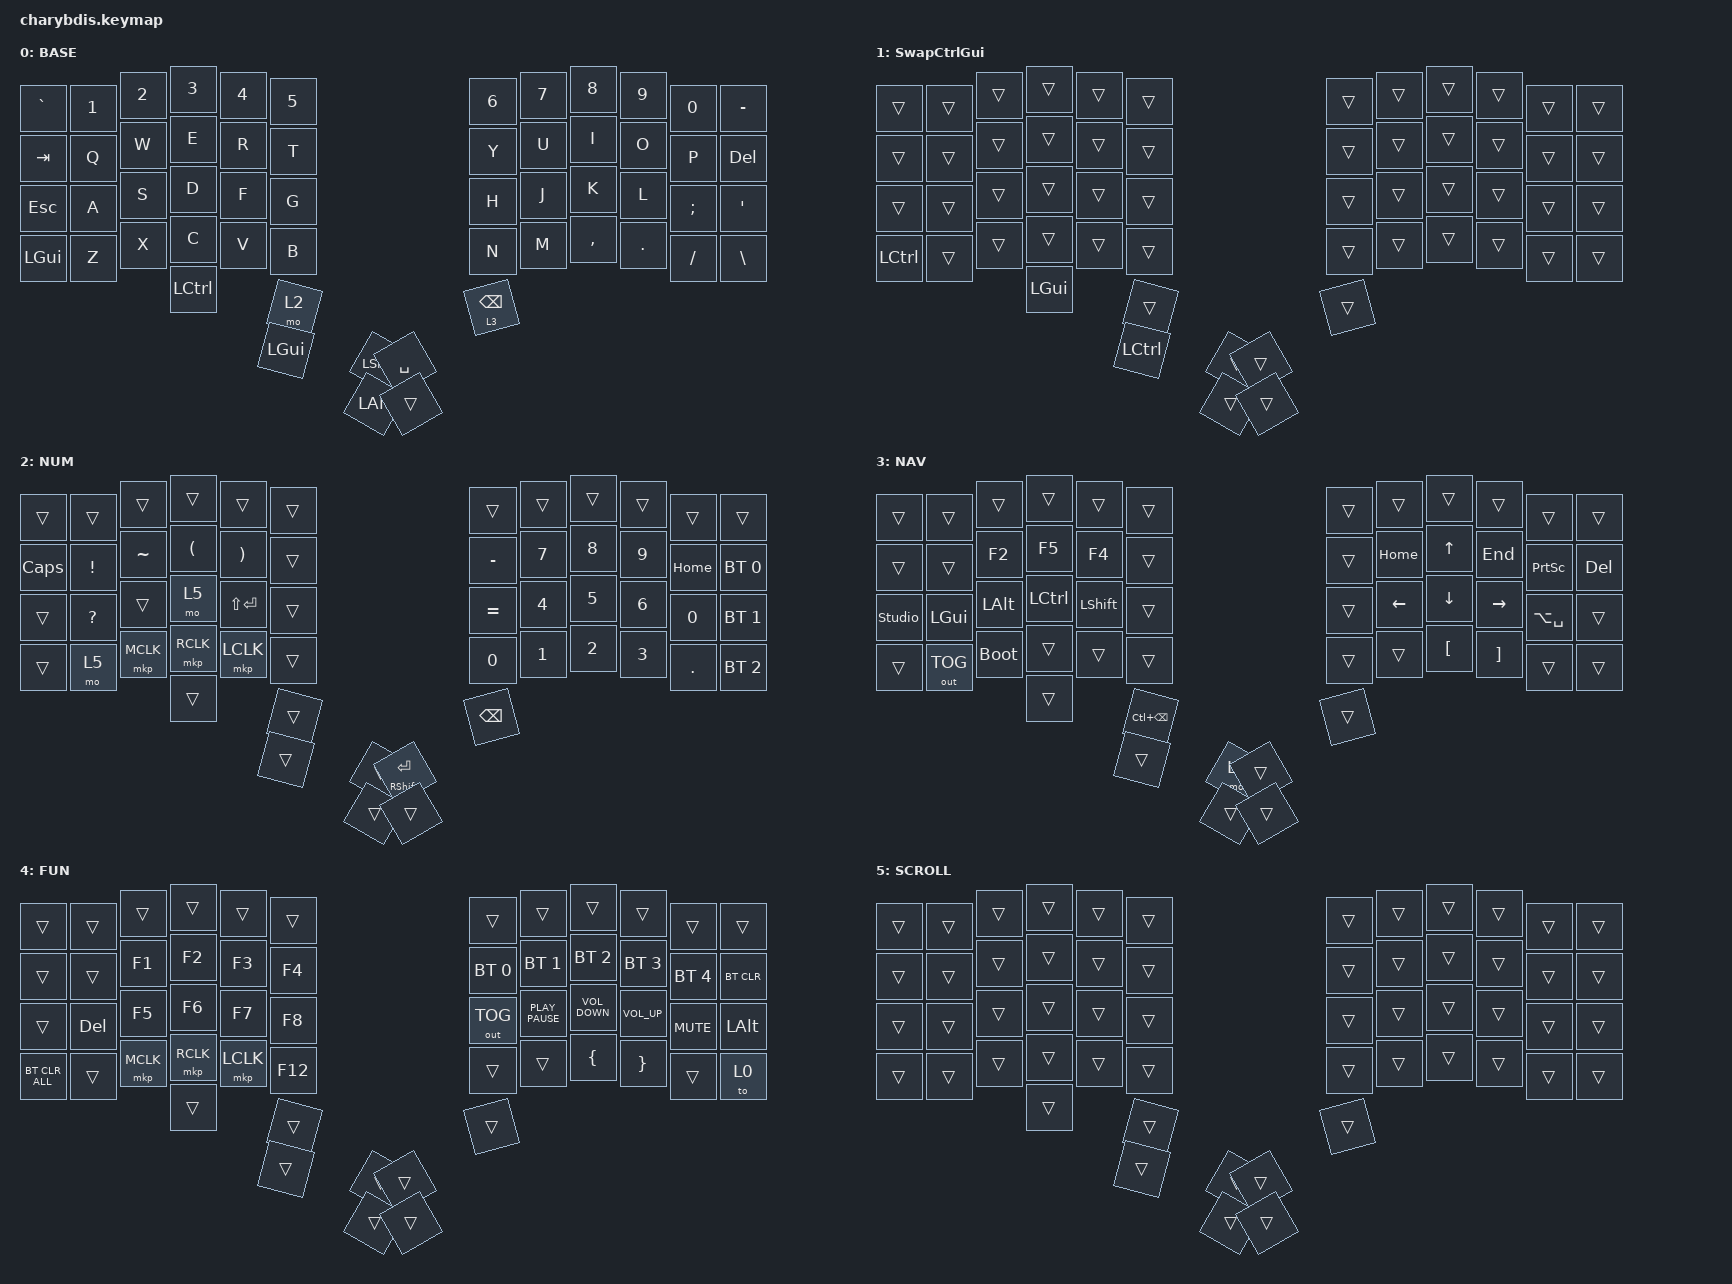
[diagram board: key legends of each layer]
#include <dt-bindings/zmk/mouse.h>
#include <input/processors.dtsi>
#include <dt-bindings/zmk/input_transform.h>
#include <behaviors.dtsi>
#include <dt-bindings/zmk/bt.h>
#include <dt-bindings/zmk/keys.h>
#include <dt-bindings/zmk/outputs.h>
#include <dt-bindings/zmk/pointing.h>

/*
 * ============================================================================
 * Charybdis Full (4x6) keymap — branch: charybdis-full
 * (report-rate-limit processor removed: its module is absent on the
 *  ZMK v0.2.1 base this branch builds against)
 * ============================================================================
 * Grid: 4 rows × 6 cols per side. Thumbs: 5 left (3 outer / 2 inner), 3 right
 * (2 outer / 1 inner). 56 keys total.
 *
 * Key position indices (used by combos & hold-trigger-key-positions):
 *   Number row : 0-11
 *   TAB   row  : 12-23
 *   ESC   row  : 24-35
 *   LGUI/Z row : 36-47
 *   Thumb row  : 48-55
 *
 * Thumb position map:
 *   48 49 50 = L outer (T1 T2 T3)
 *   51 52    = L inner (T4 T5)
 *   53 54    = R outer (T6 T7)
 *   55       = R inner (T8)
 *
 * Migration from Mini (charybdis-mini-wireless branch):
 *   - All Mini main-row positions shift by +12 (number row added at index 0).
 *   - Mini thumbs map onto Full T1/T2/T3 (left) and T6/T7 (right); T4/T5/T8
 *     are new and default to &trans (fill in as needed).
 */

#define U_TAPPING_TERM 200

/ {
    trackball_listener {
        compatible = "zmk,input-listener";
        device = <&trackball>;

        input-processors = <&zip_xy_scaler 1 2>;

        // Decrease sensitivity

        scroll {
            layers = <5>; // SCROLL
            input-processors =
                <&zip_xy_scaler 1 20>,
                <&zip_xy_to_scroll_mapper>,
                <&zip_scroll_transform (INPUT_TRANSFORM_Y_INVERT)>;
        };
    };

    combos {
        compatible = "zmk,combos";

        Delete {
            bindings = <&kp DELETE>;
            key-positions = <28 27>;
        };

        Backspace {
            bindings = <&kp BACKSPACE>;
            key-positions = <28 26>;
        };

        Emoji {
            bindings = <&kp LG(SEMICOLON)>;
            key-positions = <48 34>;
        };

        Enter {
            bindings = <&kp ENTER>;
            key-positions = <28 31>;
        };

        ToggleMacWin {
            bindings = <&tog 1>;
            key-positions = <36 48>;
        };

        LBracket {
            bindings = <&kp LEFT_BRACKET>;
            key-positions = <39 40>;
        };

        RBracket {
            bindings = <&kp RIGHT_BRACKET>;
            key-positions = <44 43>;
        };

        StickyCtrlShift {
            bindings = <&sk LC(LEFT_SHIFT)>;
            key-positions = <48 53>;
            layers = <0>;
        };

        StickyCmdShift {
            bindings = <&kp LG(LEFT_SHIFT)>;
            key-positions = <48 53>;
            layers = <1>;
        };

        Reset_L {
            bindings = <&bootloader>;
            key-positions = <37 38 39 40>;
        };

        Reset_R {
            bindings = <&bootloader>;
            key-positions = <43 44 45 46>;
        };

        BT_Clear {
            bindings = <&bt BT_CLR>;
            key-positions = <19 20 21 22>;
        };
    };

    behaviors {
        u_mt: u_mt {
            compatible = "zmk,behavior-hold-tap";
            label = "u_mt";
            #binding-cells = <2>;
            tapping_term_ms = <U_TAPPING_TERM>;
            flavor = "tap-preferred";
            bindings = <&kp>, <&kp>;
        };

        u_lt: u_lt {
            compatible = "zmk,behavior-hold-tap";
            label = "u_lt";
            #binding-cells = <2>;
            tapping_term_ms = <U_TAPPING_TERM>;
            flavor = "tap-preferred";
            bindings = <&mo>, <&kp>;
        };

        Shift_Enter: Shift_Enter {
            compatible = "zmk,behavior-hold-tap";
            label = "SHIFT_ENTER";
            bindings = <&kp>, <&kp>;

            #binding-cells = <2>;
            hold-trigger-key-positions = <52>;
            tapping-term-ms = <100>;
        };
    };

    keymap {
        compatible = "zmk,keymap";

        BASE {
            bindings = <
&kp GRAVE     &kp N1            &kp N2  &kp N3          &kp N4    &kp N5          &kp N6  &kp N7  &kp N8     &kp N9           &kp N0         &kp MINUS
&kp TAB       &kp Q             &kp W   &kp E           &kp R     &kp T           &kp Y   &kp U   &kp I      &kp O            &kp P          &kp DELETE
&kp ESCAPE    &kp A             &kp S   &kp D           &kp F     &kp G           &kp H   &kp J   &kp K      &kp L            &kp SEMICOLON  &kp APOS
&kp LEFT_GUI  &kp Z             &kp X   &kp C           &kp V     &kp B           &kp N   &kp M   &kp COMMA  &kp DOT          &kp FSLH       &kp BACKSLASH
              &kp LEFT_CONTROL  &mo 2   &kp LEFT_SHIFT  &kp LGUI  &kp LEFT_ALT                    &kp SPACE  &lt 3 BACKSPACE  &trans
            >;
        };

        SwapCtrlGui {
            bindings = <
&trans            &trans        &trans  &trans  &trans            &trans    &trans  &trans  &trans  &trans  &trans  &trans
&trans            &trans        &trans  &trans  &trans            &trans    &trans  &trans  &trans  &trans  &trans  &trans
&trans            &trans        &trans  &trans  &trans            &trans    &trans  &trans  &trans  &trans  &trans  &trans
&kp LEFT_CONTROL  &trans        &trans  &trans  &trans            &trans    &trans  &trans  &trans  &trans  &trans  &trans
                  &kp LEFT_GUI  &trans  &trans  &kp LEFT_CONTROL  &trans                    &trans  &trans  &trans
            >;
        };

        NUM {
            bindings = <
&trans        &trans           &trans     &trans                &trans                 &trans    &trans     &trans        &trans                   &trans         &trans      &trans
&kp CAPSLOCK  &kp EXCLAMATION  &kp TILDE  &kp LEFT_PARENTHESIS  &kp RIGHT_PARENTHESIS  &trans    &kp MINUS  &kp N7        &kp N8                   &kp N9         &kp HOME    &bt BT_SEL 0
&trans        &kp QUESTION     &trans     &mo 5                 &kp LS(ENTER)          &trans    &kp EQUAL  &kp NUMBER_4  &kp N5                   &kp NUMBER_6   &kp N0      &bt BT_SEL 1
&trans        &mo 5            &mkp MCLK  &mkp RCLK             &mkp LCLK              &trans    &kp N0     &kp NUMBER_1  &kp NUMBER_2             &kp NUMBER_3   &kp PERIOD  &bt BT_SEL 2
              &trans           &trans     &trans                &trans                 &trans                             &u_mt RIGHT_SHIFT ENTER  &kp BACKSPACE  &trans
            >;
        };

        NAV {
            bindings = <
&trans          &trans        &trans             &trans            &trans          &trans    &trans  &trans          &trans            &trans             &trans           &trans
&trans          &trans        &kp F2             &kp F5            &kp F4          &trans    &trans  &kp HOME        &kp UP_ARROW      &kp END            &kp PRINTSCREEN  &kp DEL
&studio_unlock  &kp LEFT_GUI  &kp LEFT_ALT       &kp LEFT_CONTROL  &kp LEFT_SHIFT  &trans    &trans  &kp LEFT_ARROW  &kp DOWN          &kp RIGHT          &kp LA(SPACE)    &trans
&trans          &out OUT_TOG  &bootloader        &trans            &trans          &trans    &trans  &trans          &kp LEFT_BRACKET  &kp RIGHT_BRACKET  &trans           &trans
                &trans        &kp LC(BACKSPACE)  &mo 4             &trans          &trans                            &trans            &trans             &trans
            >;
        };

        FUN {
            bindings = <
&trans          &trans   &trans     &trans     &trans     &trans     &trans        &trans            &trans             &trans           &trans        &trans
&trans          &trans   &kp F1     &kp F2     &kp F3     &kp F4     &bt BT_SEL 0  &bt BT_SEL 1      &bt BT_SEL 2       &bt BT_SEL 3     &bt BT_SEL 4  &bt BT_CLR
&trans          &kp DEL  &kp F5     &kp F6     &kp F7     &kp F8     &out OUT_TOG  &kp K_PLAY_PAUSE  &kp C_VOLUME_DOWN  &kp C_VOLUME_UP  &kp C_MUTE    &kp LALT
&bt BT_CLR_ALL  &trans   &mkp MCLK  &mkp RCLK  &mkp LCLK  &kp F12    &trans        &trans            &kp LEFT_BRACE     &kp RIGHT_BRACE  &trans        &to 0
                &trans   &trans     &trans     &trans     &trans                                     &trans             &trans           &trans
            >;
        };

        SCROLL {
            bindings = <
&trans  &trans  &trans  &trans  &trans  &trans    &trans  &trans  &trans  &trans  &trans  &trans
&trans  &trans  &trans  &trans  &trans  &trans    &trans  &trans  &trans  &trans  &trans  &trans
&trans  &trans  &trans  &trans  &trans  &trans    &trans  &trans  &trans  &trans  &trans  &trans
&trans  &trans  &trans  &trans  &trans  &trans    &trans  &trans  &trans  &trans  &trans  &trans
        &trans  &trans  &trans  &trans  &trans                    &trans  &trans  &trans
            >;
        };
    };
};
